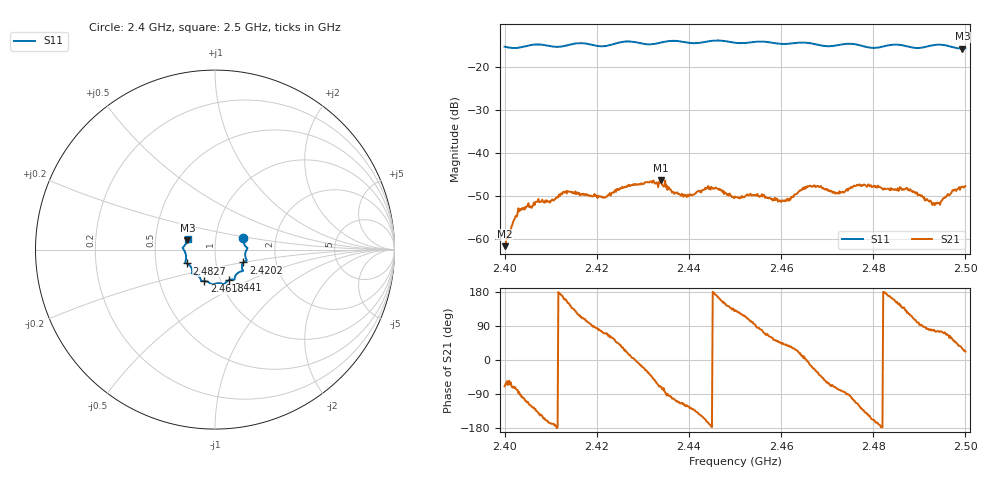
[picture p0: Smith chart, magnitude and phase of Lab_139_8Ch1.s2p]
# Hz S RI R 50
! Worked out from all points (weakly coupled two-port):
!   601 points, 2.4 GHz to 2.5 GHz, reference 50 ohm
!   highest |S21| = -46.37 dB at 2.4338 GHz (marker M1); lowest = -61.7 dB at 2.4 GHz (marker M2)
!   lowest |S11| = -15.8 dB at 2.4993 GHz (marker M3), VSWR 1.39, Z = 36.5 + j3.84 ohm
!   |S11| at or under -10 dB: start of sweep to end of sweep
!   S12 and S22 are empty: the file has one direction only
!   S11 on the Smith chart (normalised r, x): 2.4 GHz: 1.36, +0.18; 2.4202 GHz: 1.36, -0.20; 2.441 GHz: 1.10, -0.39; 2.4618 GHz: 0.84, -0.30; 2.4827 GHz: 0.72, -0.12; 2.5 GHz: 0.73, +0.09
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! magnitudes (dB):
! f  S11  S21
! 2.4 GHz  -15.4  -61.7
! 2.4035 GHz  -15.5  -53.0
! 2.4132 GHz  -15.2  -49.2
! 2.4167 GHz  -14.5  -49.5
! 2.4202 GHz  -15.2  -50.5
! 2.4275 GHz  -14.2  -47.5
! 2.4333 GHz  -14.5  -48.0
! 2.4338 GHz  -14.4  -46.4
! 2.4368 GHz  -14.0  -49.5
! 2.441 GHz  -14.6  -49.7
! 2.4453 GHz  -14.0  -48.4
! 2.45 GHz  -14.4  -50.2
! 2.4618 GHz  -14.6  -50.7
! 2.4667 GHz  -14.6  -47.8
! 2.472 GHz  -15.1  -49.3
! 2.4767 GHz  -14.9  -47.6
! 2.4827 GHz  -15.2  -48.4
! 2.4833 GHz  -15.0  -48.3
! 2.4875 GHz  -15.3  -48.6
! 2.4933 GHz  -14.9  -52.2
! 2.4993 GHz  -15.8  -47.9
! 2.5 GHz  -15.7  -47.7
